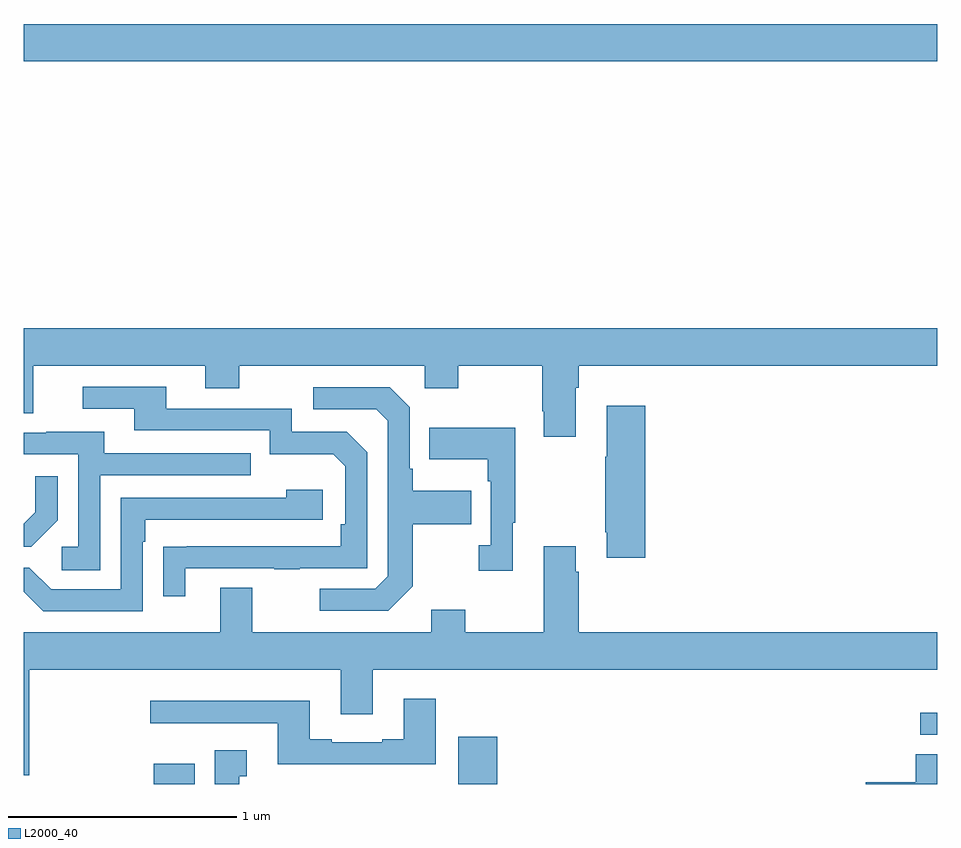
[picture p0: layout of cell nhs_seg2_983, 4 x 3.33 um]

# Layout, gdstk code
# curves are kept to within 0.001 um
import gdstk
lib = gdstk.Library(unit=1e-6, precision=1e-09)
def R(c, l, rs):  # rectangles x0, y0, x1, y1
    for r in rs: c.add(gdstk.rectangle(r[:2], r[2:], *l))
def P(c, l, *ps):  # polygons
    for p in ps: c.add(gdstk.Polygon(p, *l))
L2000_40 = (2000, 40)

nhs_seg2_983 = lib.new_cell('nhs_seg2_983')
R(nhs_seg2_983, L2000_40, [(161.57,649.8,161.749,649.888), (162.902,649.8,163.073,650.008), (164.925,650.016,165,650.112), (161,652.964,165,653.128)])
P(nhs_seg2_983, L2000_40, [(163.417,651.536),(163.43,651.536),(163.43,651.632),(165,651.632),(165,651.796),(161,651.796),(161,651.424),(161.041,651.424),(161.041,651.632),(161.795,651.632),(161.795,651.533),(161.943,651.533),(161.943,651.632),(162.756,651.632),(162.756,651.533),(162.903,651.533),(162.903,651.632),(163.27,651.632),(163.27,651.433),(163.277,651.433),(163.277,651.321),(163.417,651.321)],
  [(161.707,650.745),(162.097,650.745),(162.097,650.74),(162.209,650.74),(162.209,650.745),(162.504,650.745),(162.504,651.252),(162.414,651.342),(162.174,651.342),(162.174,651.444),(161.623,651.444),(161.623,651.54),(161.259,651.54),(161.259,651.444),(161.483,651.444),(161.483,651.348),(162.078,651.348),(162.078,651.245),(162.355,651.245),(162.408,651.192),(162.408,650.938),(162.388,650.938),(162.388,650.841),(161.611,650.84),(161.611,650.622),(161.707,650.622)],
  [(162.703,650.665),(162.703,650.938),(162.959,650.938),(162.959,651.085),(162.703,651.085),(162.703,651.181),(162.69,651.181),(162.69,651.45),(162.603,651.537),(162.267,651.537),(162.267,651.441),(162.543,651.441),(162.594,651.39),(162.594,650.709),(162.54,650.655),(162.297,650.655),(162.297,650.559),(162.597,650.559)],
  [(163.721,651.457),(163.553,651.457),(163.553,651.233),(163.546,651.233),(163.546,650.902),(163.553,650.902),(163.553,650.79),(163.721,650.79)],
  [(163.141,650.945),(163.153,650.945),(163.153,651.361),(162.775,651.361),(162.775,651.221),(163.032,651.221),(163.032,651.125),(163.044,651.125),(163.044,650.846),(162.993,650.846),(162.993,650.733),(163.141,650.733)],
  [(161.334,651.153),(161.993,651.153),(161.993,651.249),(161.353,651.249),(161.353,651.343),(161.099,651.343),(161.099,651.339),(161,651.339),(161,651.243),(161.238,651.243),(161.238,650.838),(161.166,650.838),(161.166,650.737),(161.334,650.737)],
  [(161.148,650.954),(161.148,651.148),(161.051,651.148),(161.051,650.991),(161,650.94),(161,650.838),(161.032,650.838)],
  [(161.52,650.861),(161.533,650.861),(161.533,650.958),(162.31,650.958),(162.31,651.088),(162.149,651.088),(162.149,651.054),(161.424,651.054),(161.424,650.652),(161.121,650.652),(161.025,650.748),(161,650.748),(161,650.641),(161.085,650.556),(161.52,650.556)],
  [(161.024,650.3),(162.389,650.3),(162.389,650.106),(162.529,650.106),(162.529,650.3),(165,650.3),(165,650.464),(163.43,650.464),(163.43,650.729),(163.417,650.729),(163.417,650.842),(163.277,650.842),(163.277,650.464),(162.933,650.464),(162.933,650.563),(162.785,650.563),(162.785,650.464),(162.001,650.464),(162.001,650.659),(161.861,650.659),(161.861,650.464),(161,650.464),(161,649.839),(161.024,649.839)],
  [(162.805,650.173),(162.665,650.173),(162.665,649.996),(162.569,649.996),(162.569,649.983),(162.349,649.983),(162.349,649.996),(162.253,649.996),(162.253,650.164),(161.553,650.164),(161.553,650.067),(162.113,650.067),(162.113,649.887),(162.805,649.887)],
  [(161.944,649.835),(161.977,649.835),(161.977,649.948),(161.837,649.948),(161.837,649.8),(161.944,649.8)],
  [(165,649.931),(164.906,649.931),(164.906,649.808),(164.688,649.808),(164.688,649.8),(165,649.8)])

lib.write_gds('nhs_seg2_983.gds')
